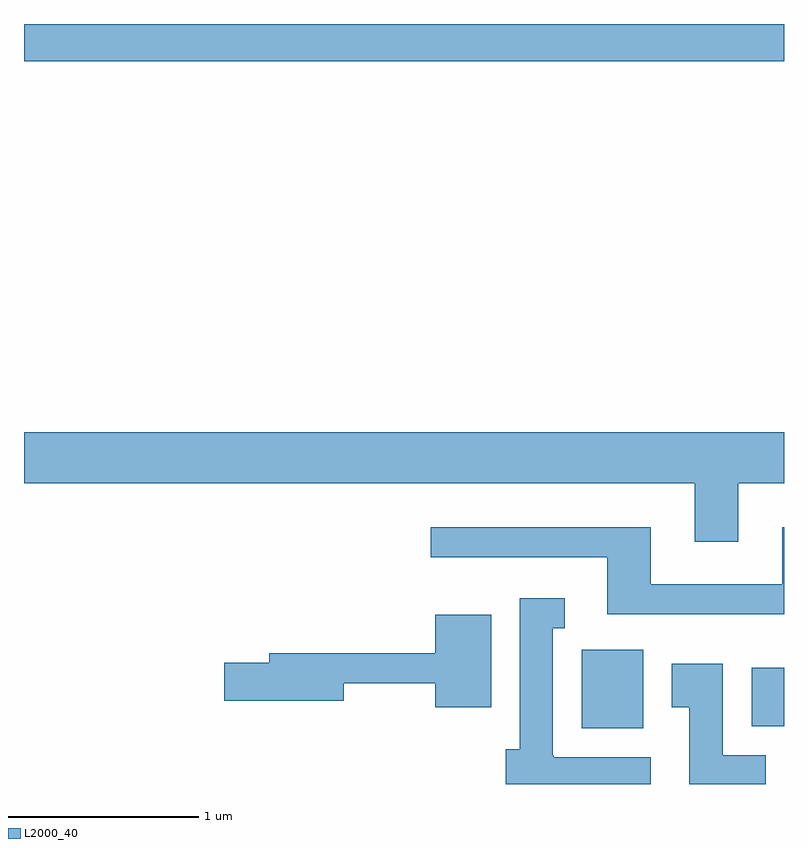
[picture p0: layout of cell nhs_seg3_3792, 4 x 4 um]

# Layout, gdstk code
import gdstk
lib = gdstk.Library(unit=1e-6, precision=1e-09)
def R(c, l, rs):  # rectangles x0, y0, x1, y1
    for r in rs: c.add(gdstk.rectangle(r[:2], r[2:], *l))
def P(c, l, *ps):  # polygons
    for p in ps: c.add(gdstk.Polygon(p, *l))
L2000_40 = (2000, 40)

nhs_seg3_3792 = lib.new_cell('nhs_seg3_3792')
R(nhs_seg3_3792, L2000_40, [(298.546,1220.186,298.869,1220.599), (299.441,1220.196,299.611,1220.504), (295.611,1223.696,299.611,1223.892)])
P(nhs_seg3_3792, L2000_40, [(299.369,1221.476),(299.611,1221.476),(299.611,1221.744),(295.611,1221.744),(295.611,1221.476),(299.141,1221.476),(299.141,1221.166),(299.369,1221.166)],
  [(299.611,1221.244),(299.601,1221.244),(299.601,1220.944),(298.909,1220.944),(298.909,1221.244),(297.753,1221.244),(297.753,1221.086),(298.681,1221.086),(298.681,1220.786),(299.611,1220.786)],
  [(298.909,1220.034),(298.4,1220.034),(298.4,1220.04),(298.394,1220.04),(298.394,1220.711),(298.458,1220.711),(298.458,1220.869),(298.221,1220.869),(298.221,1220.074),(298.146,1220.074),(298.146,1219.892),(298.909,1219.892)],
  [(298.069,1220.784),(297.776,1220.784),(297.776,1220.579),(296.901,1220.579),(296.901,1220.529),(296.666,1220.529),(296.666,1220.331),(297.294,1220.331),(297.294,1220.421),(297.776,1220.421),(297.776,1220.296),(298.069,1220.296)],
  [(299.514,1220.044),(299.289,1220.044),(299.289,1220.524),(299.021,1220.524),(299.021,1220.296),(299.111,1220.296),(299.111,1219.892),(299.514,1219.892)])

lib.write_gds('nhs_seg3_3792.gds')
